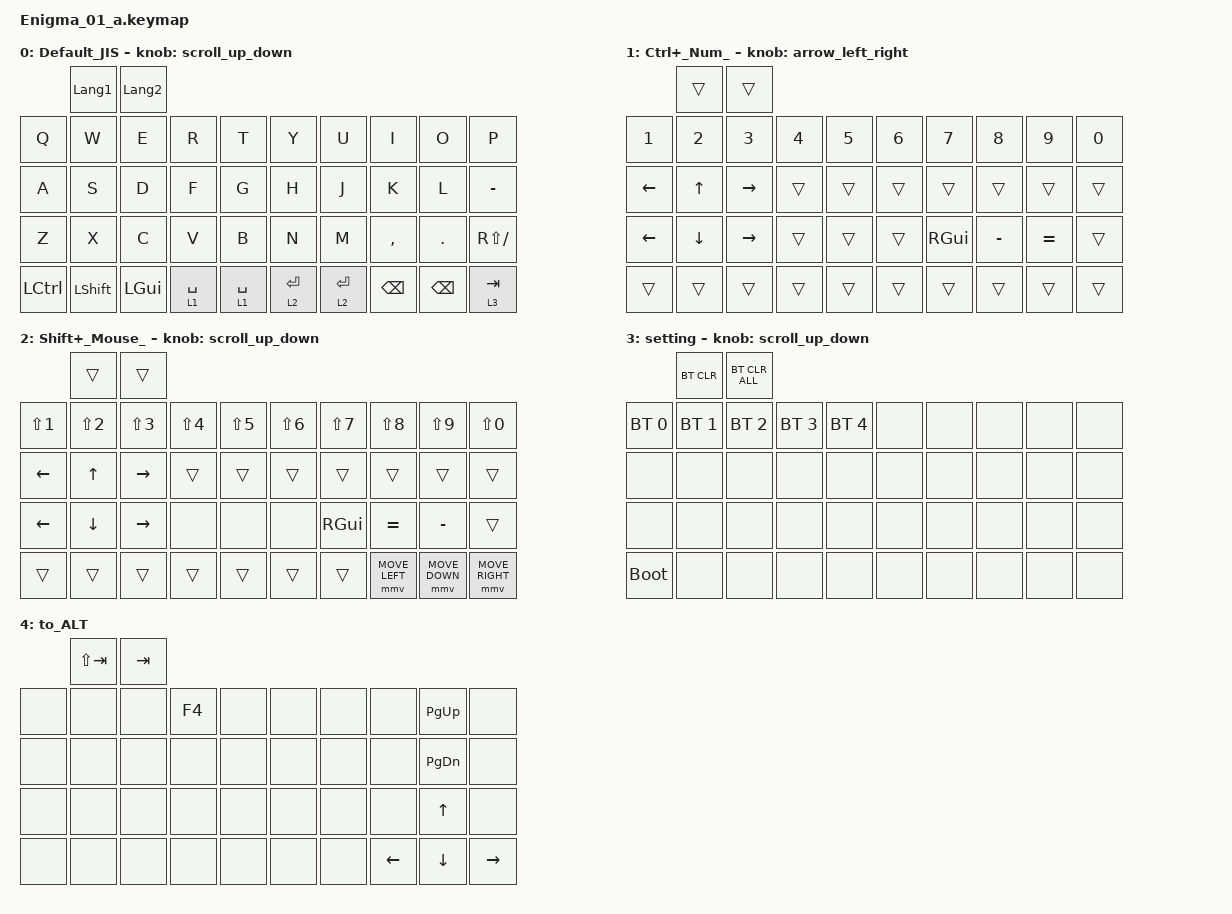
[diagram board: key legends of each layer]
#include <behaviors.dtsi>
#include <dt-bindings/zmk/bt.h>
#include <dt-bindings/zmk/keys.h>
#include <dt-bindings/zmk/pointing.h>

#define ZMK_POINTING_DEFAULT_SCRL_VAL 100

/ {
    // zmk-listeners

    layer_listeners {
        compatible = "zmk,layer-listeners";

        release_alt {
            layers = <4>;
            bindings = <&kt_on LEFT_ALT &kt_off LEFT_ALT>;
        };
    };

    macros {
        // zmk-listeners

        to_kp: to_kp {
            compatible = "zmk,behavior-macro-two-param";
            #binding-cells = <2>;
            bindings = <&macro_param_1to1 &to MACRO_PLACEHOLDER &macro_param_2to1 &kp MACRO_PLACEHOLDER>;
            label = "to_kp";
        };

        // zmk-listeners

        mo_to_0: mo_to_0 {
            compatible = "zmk,behavior-macro-one-param";
            wait-ms = <0>;
            tap-ms = <0>;
            #binding-cells = <1>;
            bindings =
                <&macro_press>,
                <&macro_param_1to1 &mo MACRO_PLACEHOLDER>,
                <&macro_tap>,
                <&macro_pause_for_release>,
                <&macro_release>,
                <&macro_param_1to1 &mo MACRO_PLACEHOLDER>,
                <&macro_tap>,
                <&to 0>;

            label = "MO_to_0";
        };
    };

    behaviors {
        // Layout shift

        original_key_press: original_key_press {
            compatible = "zmk,behavior-key-press";
            #binding-cells = <1>;
            label = "KEY_PRESS";
        };

        // Layout shift

        kp: key_press {
            compatible = "zmk,behavior-layout-shift-key-press";
            #binding-cells = <1>;
            label = "LAYOUT_SHIFT_KEY_PRESS";
        };

        // zmk-listeners

        kt_on: key_toggle_on_only {
            compatible = "zmk,behavior-key-toggle";
            #binding-cells = <1>;
            display-name = "Key Toggle On";
            toggle-mode = "on";
        };

        // zmk-listeners

        kt_off: key_toggle_off_only {
            compatible = "zmk,behavior-key-toggle";
            #binding-cells = <1>;
            display-name = "Key Toggle Off";
            toggle-mode = "off";
        };

        // zmk-listeners

        lt_to_0: lt_to_0 {
            compatible = "zmk,behavior-hold-tap";
            label = "LT_to_0";
            bindings = <&mo_to_0>, <&kp>;

            #binding-cells = <2>;
            tapping-term-ms = <200>;
            quick-tap-ms = <200>;
            flavor = "balanced";
        };

        scroll_up_down: behavior_sensor_rotate_mouse_wheel_up_down {
            compatible = "zmk,behavior-sensor-rotate";
            #sensor-binding-cells = <0>;
            bindings = <&msc SCRL_UP>, <&msc SCRL_DOWN>;

            tap-ms = <20>;
        };

        scroll_left_right: behavior_sensor_rotate_mouse_wheel_left_right {
            compatible = "zmk,behavior-sensor-rotate";
            #sensor-binding-cells = <0>;
            bindings = <&msc SCRL_LEFT>, <&msc SCRL_RIGHT>;

            tap-ms = <20>;
        };

        arrow_left_right: behavior_sensor_rotate_arrow_le {
            compatible = "zmk,behavior-sensor-rotate";
            #sensor-binding-cells = <0>;
            bindings = <&kp LEFT>, <&kp RIGHT>;

            tap-ms = <20>;
        };

        arrow_up_down: behavior_sensor_rotate_arrow_up {
            compatible = "zmk,behavior-sensor-rotate";
            #sensor-binding-cells = <0>;
            bindings = <&kp UP>, <&kp DOWN>;

            tap-ms = <20>;
        };

        page_up_down: behavior_sensor_rotate_page_up_ {
            compatible = "zmk,behavior-sensor-rotate";
            #sensor-binding-cells = <0>;
            bindings = <&kp PAGE_UP>, <&kp PAGE_DOWN>;

            tap-ms = <20>;
        };

        tp1: tab_ctrl_q {
            compatible = "zmk,behavior-tap-dance";
            label = "tab_ctrl_q";
            #binding-cells = <0>;
            bindings = <&mt LCTRL TAB>, <&kp Q>;
        };

        tp2: shift_ctrl {
            compatible = "zmk,behavior-tap-dance";
            label = "shift_ctrl";
            #binding-cells = <0>;
            bindings = <&kp LSHIFT>, <&kp LCTRL>;
        };

        tp4: f7_toALT_f8 {
            compatible = "zmk,behavior-tap-dance";
            label = "f7_toALT_f8";
            #binding-cells = <0>;
            bindings = <&lt_to_0 4 F7>, <&kp F8>;
        };

        tp3: hz_toALT {
            compatible = "zmk,behavior-tap-dance";
            label = "hz_toALT";
            #binding-cells = <0>;
            bindings = <&lt_to_0 4 GRAVE>;
        };
    };

    combos {
        compatible = "zmk,combos";

        mo_setting {
            bindings = <&mo 3>;
            key-positions = <36 35>;
        };
    };

    keymap {
        compatible = "zmk,keymap";

        Default_JIS {
            bindings = <
                  &kp LANGUAGE_1  &kp LANGUAGE_2
&kp Q             &kp W           &kp E           &kp R        &kp T        &kp Y        &kp U        &kp I          &kp O          &kp P
&kp A             &kp S           &kp D           &kp F        &kp G        &kp H        &kp J        &kp K          &kp L          &kp MINUS
&kp Z             &kp X           &kp C           &kp V        &kp B        &kp N        &kp M        &kp COMMA      &kp DOT        &kp RS(SLASH)
&kp LEFT_CONTROL  &kp LEFT_SHIFT  &kp LEFT_GUI    &lt 1 SPACE  &lt 1 SPACE  &lt 2 ENTER  &lt 2 ENTER  &kp BACKSPACE  &kp BACKSPACE  &lt 3 TAB
            >;

            sensor-bindings = <&scroll_up_down>;
        };

        Ctrl+_Num_ {
            bindings = <
                &trans          &trans
&kp NUMBER_1    &kp NUMBER_2    &kp NUMBER_3     &kp NUMBER_4  &kp N5  &kp NUMBER_6  &kp N7         &kp N8     &kp N9     &kp N0
&kp LEFT_ARROW  &kp UP_ARROW    &kp RIGHT_ARROW  &trans        &trans  &trans        &trans         &trans     &trans     &trans
&kp LEFT_ARROW  &kp DOWN_ARROW  &kp RIGHT_ARROW  &trans        &trans  &trans        &kp RIGHT_GUI  &kp MINUS  &kp EQUAL  &trans
&trans          &trans          &trans           &trans        &trans  &trans        &trans         &trans     &trans     &trans
            >;

            sensor-bindings = <&arrow_left_right>;
        };

        Shift+_Mouse_ {
            bindings = <
                  &trans            &trans
&kp LS(NUMBER_1)  &kp LS(NUMBER_2)  &kp LS(NUMBER_3)  &kp LS(NUMBER_4)  &kp LS(NUMBER_5)  &kp LS(NUMBER_6)  &kp LS(NUMBER_7)  &kp LS(NUMBER_8)  &kp LS(NUMBER_9)  &kp LS(NUMBER_0)
&kp LEFT_ARROW    &kp UP            &kp RIGHT_ARROW   &trans            &trans            &trans            &trans            &trans            &trans            &trans
&kp LEFT_ARROW    &kp DOWN_ARROW    &kp RIGHT_ARROW   &none             &none             &none             &kp RIGHT_GUI     &kp EQUAL         &kp MINUS         &trans
&trans            &trans            &trans            &trans            &trans            &trans            &trans            &mmv MOVE_LEFT    &mmv MOVE_DOWN    &mmv MOVE_RIGHT
            >;

            sensor-bindings = <&scroll_up_down>;
        };

        setting {
            bindings = <
              &bt BT_CLR    &bt BT_CLR_ALL
&bt BT_SEL 0  &bt BT_SEL 1  &bt BT_SEL 2    &bt BT_SEL 3  &bt BT_SEL 4  &none  &none  &none  &none  &none
&none         &none         &none           &none         &none         &none  &none  &none  &none  &none
&none         &none         &none           &none         &none         &none  &none  &none  &none  &none
&bootloader   &none         &none           &none         &none         &none  &none  &none  &none  &none
            >;

            sensor-bindings = <&scroll_up_down>;
        };

        to_ALT {
            bindings = <
       &kp LS(TAB)  &kp TAB
&none  &none        &none    &kp F4  &none  &none  &none  &none     &kp PAGE_UP    &none
&none  &none        &none    &none   &none  &none  &none  &none     &kp PAGE_DOWN  &none
&none  &none        &none    &none   &none  &none  &none  &none     &kp UP         &none
&none  &none        &none    &none   &none  &none  &none  &kp LEFT  &kp DOWN       &kp RIGHT
            >;
        };
    };
};
